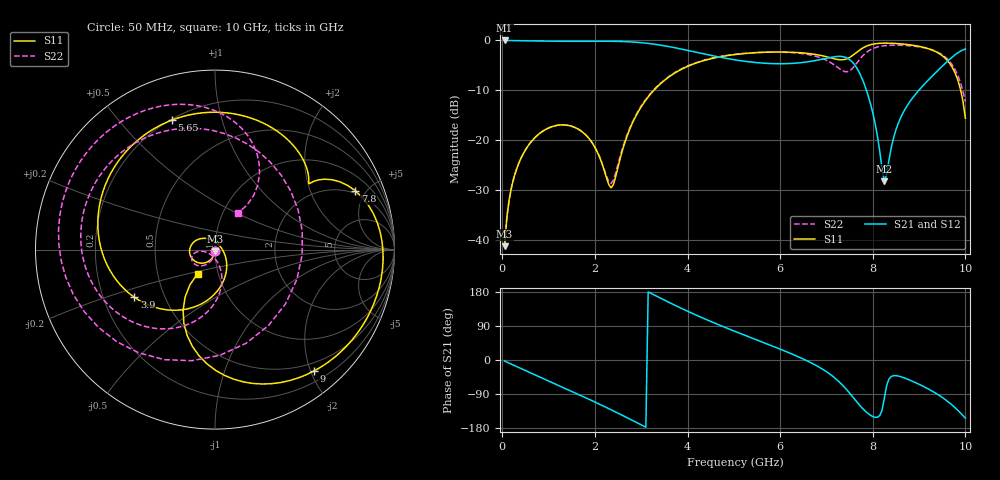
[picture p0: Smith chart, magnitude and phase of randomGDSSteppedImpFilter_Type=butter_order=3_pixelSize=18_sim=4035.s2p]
! freq	dB(S11)	phase(S11)	dB(S12)	phase(S12)
!  dB(S21)	phase(S21)	dB(S22)	phase(S22)
!S-par simulation data
#  GHz  S  DB  R 50
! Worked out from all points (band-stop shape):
!   200 points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, 50 MHz to 10 GHz, reference 50 ohm
!   highest |S21| = -0.01 dB at 50 MHz (marker M1); lowest = -28.2 dB at 8.25 GHz (marker M2)
!   |S21| within 3 dB of the highest: start of sweep to 4.506 GHz; 9.76 GHz to end of sweep
!   lowest |S11| = -41.2 dB at 50 MHz (marker M3), VSWR 1.02, Z = 50 - j0.866 ohm
!   |S11| at or under -10 dB: start of sweep to 3.272 GHz; 9.899 GHz to end of sweep
!   |S22| runs from -41.2 to -0.9 dB; largest |S21 - S12| = 0
!   S11 on the Smith chart (normalised r, x): 50 MHz: 1.00, -0.02; 3.9 GHz: 0.33, -0.24; 5.65 GHz: 0.20, +0.70; 7.8 GHz: 1.81, +4.23; 9 GHz: 0.36, -2.05; 10 GHz: 0.80, -0.22
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0.05  -41.24 -91.1  -0.01 -2.8  -0.01 -2.8  -41.22 -90.9
0.2  -29.42 -102.3  -0.02 -11.2  -0.02 -11.2  -29.41 -99.6
0.55  -21.23 -124.8  -0.07 -30.6  -0.07 -30.6  -21.21 -117.2
1.75  -18.50 155.3  -0.18 -96.7  -0.18 -96.7  -18.50 -169.4
2.35  -29.55 42.3  -0.17 -131.4  -0.17 -131.4  -28.68 -124.3
2.8  -16.76 -65.2  -0.30 -158.7  -0.30 -158.7  -16.55 -75.4
3.4  -8.81 -114.6  -0.92 164.1  -0.92 164.1  -8.70 -99.3
3.9  -5.64 -149.5  -1.80 134.4  -1.80 134.4  -5.55 -123.2
5.05  -2.80 141.0  -3.94 74.3  -3.94 74.3  -2.74 -172.7
5.65  -2.38 108.4  -4.57 45.6  -4.57 45.6  -2.36 163.2
6.7  -2.72 54.9  -4.13 -9.4  -4.13 -9.4  -3.01 108.6
7.1  -3.51 38.9  -3.39 -39.5  -3.39 -39.5  -4.49 65.7
7.4  -3.80 34.9  -3.35 -73.3  -3.35 -73.3  -6.26 -3.5
7.6  -2.76 32.6  -4.77 -102.3  -4.77 -102.3  -5.19 -71.7
7.8  -1.43 22.8  -8.35 -130.3  -8.35 -130.3  -2.92 -126.3
8  -0.75 9.4  -14.50 -149.2  -14.50 -149.2  -1.64 -162.5
8.25  -0.54 -6.8  -28.22 -101.1  -28.22 -101.1  -1.06 167.7
8.35  -0.55 -12.9  -23.97 -50.1  -23.97 -50.1  -0.98 158.5
8.6  -0.68 -27.6  -15.54 -43.9  -15.54 -43.9  -0.96 139.3
9  -1.19 -51.0  -9.94 -64.1  -9.94 -64.1  -1.29 113.6
9.7  -5.15 -103.2  -3.46 -117.4  -3.46 -117.4  -4.69 66.3
10  -15.61 -126.0  -1.73 -153.5  -1.73 -153.5  -12.28 57.5
